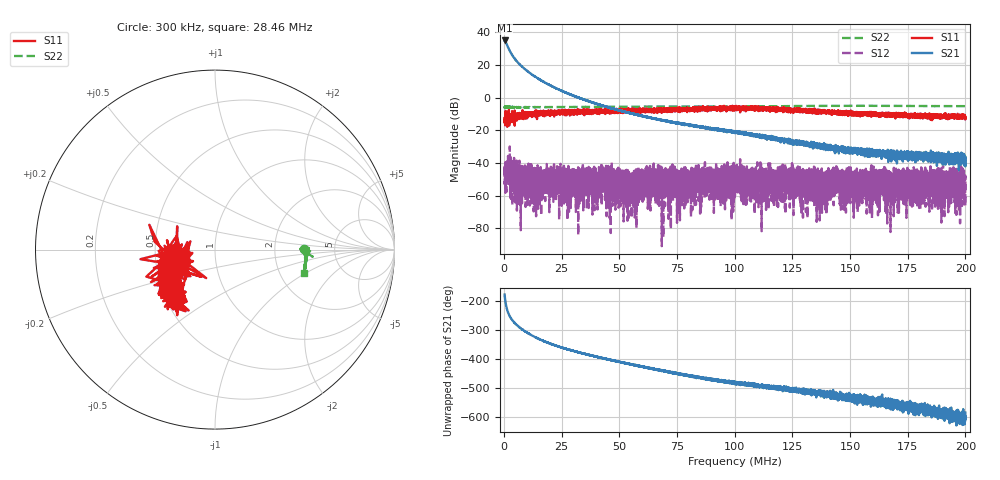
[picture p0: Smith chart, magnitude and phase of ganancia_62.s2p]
# Hz S DB R 50
! CMT, M5065, 19127446, 24.2.4/2
! Date: 11/8/2024 5:38:30 PM
! Data: Format (Calibration Info)
! Freq	S11:dB/Ang(F2)	S21:dB/Ang(F2)	S12:dB/Ang(F2)	S22:dB/Ang(F2)
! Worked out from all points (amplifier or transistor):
!   9000 points, 300 kHz to 200 MHz, reference 50 ohm
!   highest |S21| = 34.9 dB at 388.8 kHz (marker M1)
!   |S21| within 3 dB of that: start of sweep to 1.413 MHz
!   unconditionally stable (mu >= 1): 1.121 MHz to 1.758 MHz; 1.773 MHz to 2.518 MHz; 2.55 MHz to end of sweep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
!   at 33.59 MHz: K = 78.17, MAG = 1.2 dB, |S12| = -47.0 dB
!   at 100.2 MHz: K = 771.79, MAG = -18.6 dB, |S12| = -47.5 dB
!   at 200 MHz: K = 9949.80, MAG = -38.9 dB, |S12| = -48.8 dB
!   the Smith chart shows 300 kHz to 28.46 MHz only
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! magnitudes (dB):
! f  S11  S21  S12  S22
! 300 kHz  -15.2  34.9  -43.5  -6.1
! 388.8 kHz  -12.9  34.9  -48.3  -6.5
! 5.093 MHz  -13.3  23.0  -47.1  -6.0
! 11.2 MHz  -9.9  15.1  -42.3  -6.0
! 14.37 MHz  -10.3  12.0  -53.6  -5.9
! 18.65 MHz  -9.5  8.5  -49.0  -5.9
! 33.59 MHz  -8.9  -0.8  -47.0  -5.8
! 40.56 MHz  -8.8  -3.9  -68.5  -5.7
! 43.44 MHz  -8.1  -5.2  -50.0  -5.7
! 47.94 MHz  -8.7  -7.1  -53.1  -5.7
! 52.21 MHz  -8.7  -8.6  -47.4  -5.6
! 54.49 MHz  -8.4  -9.5  -47.7  -5.6
! 57.38 MHz  -7.9  -10.4  -45.3  -5.6
! 66.87 MHz  -8.3  -13.3  -50.4  -5.5
! 100.2 MHz  -7.3  -21.0  -47.5  -5.4
! 133.4 MHz  -8.5  -28.6  -55.4  -5.1
! 136 MHz  -8.3  -31.0  -47.9  -5.1
! 144.5 MHz  -8.6  -30.7  -51.1  -5.1
! 166.7 MHz  -10.7  -34.8  -46.7  -5.1
! 181.7 MHz  -10.8  -39.2  -48.9  -5.2
! 192 MHz  -10.8  -37.1  -47.2  -5.2
! 200 MHz  -12.7  -40.7  -48.8  -5.3
